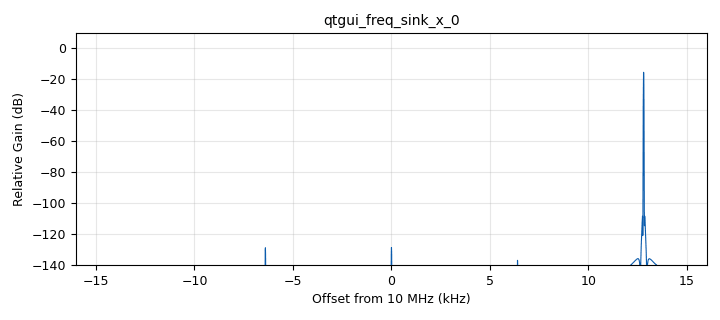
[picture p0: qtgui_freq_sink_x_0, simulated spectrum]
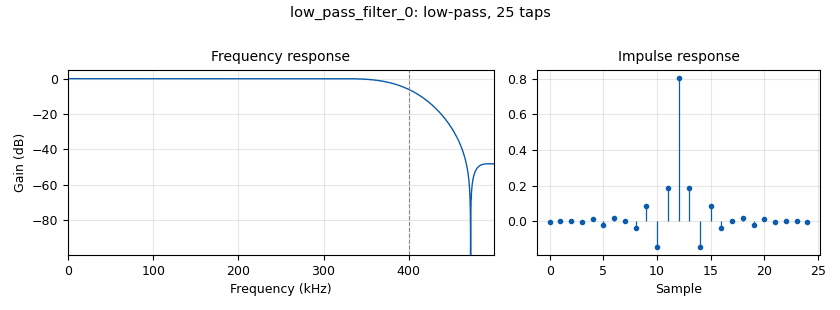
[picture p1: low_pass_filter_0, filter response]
options:
  parameters:
    generate_options: qt_gui
    id: harris_falcon_radio
    output_language: python
    title: Not titled yet
  states: {}

blocks:
- name: samp_rate
  id: variable
  parameters:
    value: '32000'
  states: {}
- name: analog_sig_source_x_0
  id: analog_sig_source_x
  parameters:
    amp: '1.0'
    freq: 400e3
    offset: '0.0'
    phase: '0'
    samp_rate: 1e6
    type: complex
    waveform: analog.GR_COS_WAVE
  states: {}
- name: blocks_file_sink_0
  id: blocks_file_sink
  parameters:
    file: /Users/sorker/Downloads/hf_signal_data
    type: complex
  states: {}
- name: blocks_throttle2_0
  id: blocks_throttle2
  parameters:
    samples_per_second: 1e6
    type: complex
  states: {}
- name: low_pass_filter_0
  id: low_pass_filter
  parameters:
    cutoff_freq: 400e3
    decim: '1'
    gain: '1'
    samp_rate: 1e6
    type: fir_filter_ccf
    width: 100e3
    win: window.WIN_HAMMING
  states: {}
- name: qtgui_freq_sink_x_0
  id: qtgui_freq_sink_x
  parameters:
    bw: samp_rate
    fc: 10e6
    fftsize: '4096'
    grid: 'True'
    type: complex
  states: {}

connections:
- [analog_sig_source_x_0, '0', blocks_throttle2_0, '0']
- [blocks_throttle2_0, '0', low_pass_filter_0, '0']
- [low_pass_filter_0, '0', blocks_file_sink_0, '0']
- [low_pass_filter_0, '0', qtgui_freq_sink_x_0, '0']

metadata:
  file_format: 1
  grc_version: 3.10.11.0
